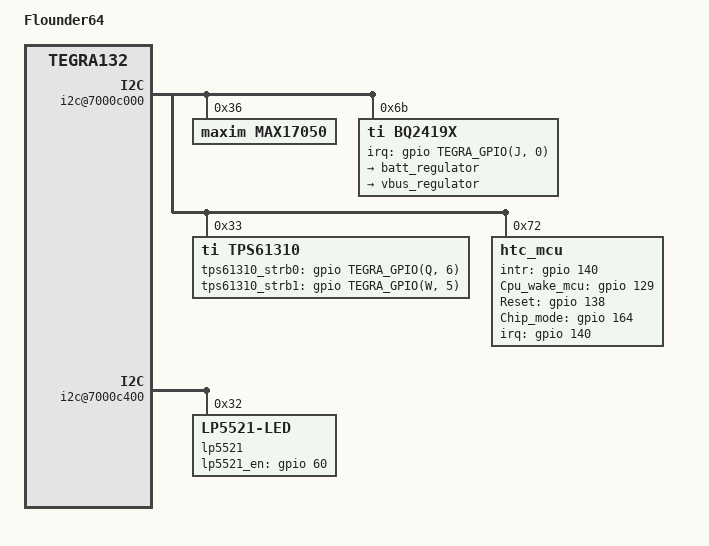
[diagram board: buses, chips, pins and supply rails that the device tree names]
/dts-v1/;

#include "tegra132-flounder64-generic.dtsi"

/ {
	model = "Flounder64";
	compatible = "google,flounder64", "nvidia,tegra132";
	nvidia-boardids = "1780:1100:2:B:7","1794:1000:0:A:6";
	#address-cells = <2>;
	#size-cells = <2>;

	chosen {
		bootargs = "tegraid=40.0.0.00.00 vmalloc=256M video=tegrafb console=ttyS0,115200n8 earlyprintk";
		linux,initrd-start = <0x85000000>;
		linux,initrd-end = <0x851bc400>;
	};

	pinmux {
		status = "disable";
	};

	i2c@7000c000 {
		status = "okay";

		max17050@36 {
			compatible = "maxim,max17050";
			reg = <0x36>;
		};

		bq2419x: bq2419x@6b {
			compatible = "ti,bq2419x";
			reg = <0x6b>;

			interrupt-parent = <&gpio>;
			interrupts = <TEGRA_GPIO(J, 0) 0x0>;

			charger {
				regulator-name = "batt_regulator";
				regulator-max-microamp = <3000000>;
				ti,watchdog-timeout = <0>;
				ti,auto-recharge-time = <1800>;
				ti,input-voltage-limit-millivolt = <4440>;
				ti,fast-charge-current-limit-milliamp = <2944>;
				ti,pre-charge-current-limit-milliamp = <512>;
				ti,charge-term-current-limit-milliamp = <128>;
				ti,charge-voltage-limit-millivolt = <4352>;
				ti,disbale-suspend-during-charging;
				ti,temp-polling-time-sec = <30>;
				thermal-overtemp-control-no-thermister;
				thermal-temperature-hot-deciC = <551>;
				thermal-temperature-cold-deciC = <(-1)>;
				thermal-temperature-warm-deciC = <481>;
				thermal-temperature-cool-deciC = <100>;
				thermal-temperature-hysteresis-deciC = <30>;
				thermal-warm-voltage-millivolt = <4096>;
				thermal-cool-voltage-millivolt = <4352>;
				thermal-disable-warm-current-half;
				thermal-overtemp-output-current-milliamp = <1344>;
				consumers {
					c1 {
						regulator-consumer-supply = "usb_bat_chg";
						regulator-consumer-device = "tegra-udc.0";
					};
				};
			};

			vbus {
				regulator-name = "vbus_regulator";
				consumers {
					c1 {
						regulator-consumer-supply = "usb_vbus";
						regulator-consumer-device = "tegra-ehci.0";
					};

					c2 {
						regulator-consumer-supply = "usb_vbus";
						regulator-consumer-device = "tegra-otg";
					};
				};
			};
		};

		tps61310@33 {
			compatible = "ti,tps61310";
			reg = <0x33>;
			tps61310,tps61310_strb0 = <&gpio TEGRA_GPIO(Q, 6) 0>;
			tps61310,tps61310_strb1 = <&gpio TEGRA_GPIO(W, 5) 0>;
			tps61310,flash_duration_ms = <600>;
			tps61310,enable_FLT_1500mA = <0>;
			tps61310,led_count = <1>;
			tps61310,disable_tx_mask = <1>;

			tps61310_flash0: tps61310_flash_0 {
				label = "flash";
				linux,name = "flash_0";
				linux,default-trigger =
					"flash0_trigger";
				id = <0>;
				default-state = "off";
				max-current = <750>;
			};

			tps61310_torch0: tps61310_torch_0 {
				label = "torch";
				linux,name = "torch_0";
				linux,default-trigger =
					"torch0_trigger";
				id = <0>;
				default-state = "off";
				max-current = <200>;
			};
		};

		htc_mcu@72 {
			compatible = "htc_mcu";
			reg = <0x72>;
			interrupt-parent = <&gpio>;
			interrupts = <140 0x0>;
			mcu,intr-gpio  = <&gpio 140 0>;
			mcu,gs_chip_layout = <1>;
			mcu,acceleration_axes = <6>;
			mcu,magnetic_axes = <7>;
			mcu,gyro_axes = <6>;
			mcu,Cpu_wake_mcu-gpio = <&gpio 129 0>;
			mcu,Reset-gpio = <&gpio 138 0>;
			mcu,Chip_mode-gpio = <&gpio 164 0>;
		};
	};
	i2c@7000c400 {
		status = "okay";

		lp5521@32 {
			compatible = "LP5521-LED";
			reg = <0x32>;
			lp5521,lp5521_en = <&gpio 60 0x00>;
			lp5521,num_leds = <1>;
		};
	};

};

